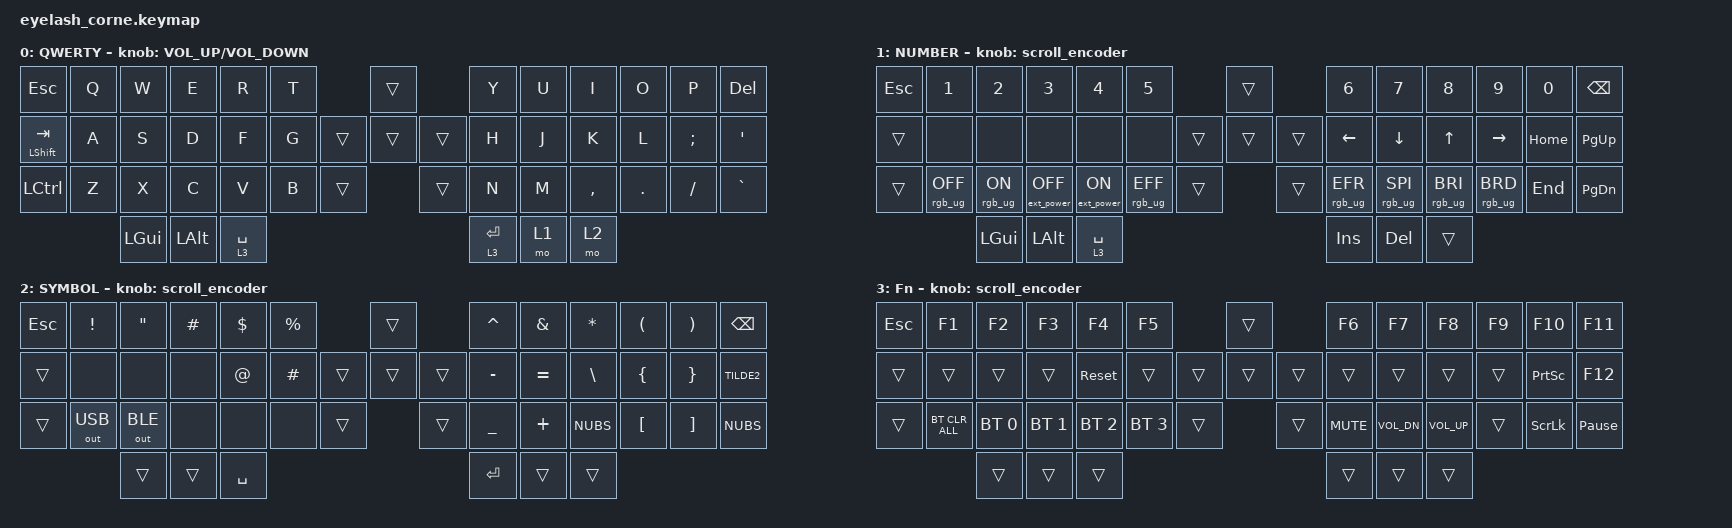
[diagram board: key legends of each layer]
#define ZMK_POINTING_DEFAULT_MOVE_VAL 1200  // 600
#define ZMK_POINTING_DEFAULT_SCRL_VAL 25   // 10

#include <input/processors.dtsi>
#include <zephyr/dt-bindings/input/input-event-codes.h>
#include <behaviors.dtsi>
#include <dt-bindings/zmk/bt.h>
#include <dt-bindings/zmk/ext_power.h>
#include <dt-bindings/zmk/keys.h>
#include <dt-bindings/zmk/outputs.h>
#include <dt-bindings/zmk/pointing.h>
#include <dt-bindings/zmk/rgb.h>

&mmv_input_listener { input-processors = <&zip_xy_scaler 2 1>; };

&msc_input_listener { input-processors = <&zip_scroll_scaler 2 1>; };

&msc {
    acceleration-exponent = <1>;      // 0
    time-to-max-speed-ms = <100>;       // 300
    delay-ms = <0>;                   // 0
};

&mmv {
    time-to-max-speed-ms = <500>;
    acceleration-exponent = <1>;
    trigger-period-ms = <16>;
};

/ {
    behaviors {
        td0: td0 {
            compatible = "zmk,behavior-tap-dance";
            display-name = "Shift/Caps Lock Tap Dance";
            #binding-cells = <0>;
            bindings = <&kp LEFT_SHIFT>, <&kp CAPS>;
        };
    };

    rgb_encoder: rgb_encoder {
        compatible = "zmk,behavior-sensor-rotate";
        #sensor-binding-cells = <0>;
        bindings = <&rgb_ug RGB_BRI>, <&rgb_ug RGB_BRD>;
    };

    scroll_encoder: scroll_encoder {
        compatible = "zmk,behavior-sensor-rotate";
        #sensor-binding-cells = <0>;
        bindings = <&msc SCRL_DOWN>, <&msc SCRL_UP>;

        tap-ms = <100>;
    };

    keymap {
        compatible = "zmk,keymap";
        default_layer {
            display-name = "QWERTY";
            // ------------------------------------------------------------------------------------------------------------------
            // | ESC  |  Q  |  W  |  E  |  R  |  T  |                           |  Y  |  U   |  I  |  O  |  P  | DEL  |
            // | SHIFT|  A  |  S  |  D  |  F  |  G  |                           |  H  |  J   |  K  |  L  |  ;  |  '   |
            // | CTRL |  Z  |  X  |  C  |  V  |  B  |                           |  N  |  M   |  ,  |  .  |  /  |  `   |
            bindings = <
&kp ESC         &kp Q    &kp W    &kp E    &kp R    &kp T          &trans        &kp Y    &kp U    &kp I     &kp O    &kp P    &kp DEL
&mt LSHIFT TAB  &kp A    &kp S    &kp D    &kp F    &kp G  &trans &trans &trans  &kp H    &kp J    &kp K     &kp L    &kp SEMI &kp SQT
&kp LCTRL       &kp Z    &kp X    &kp C    &kp V    &kp B  &trans  &trans        &kp N    &kp M    &kp COMMA &kp DOT  &kp FSLH &kp GRAVE
                         &kp LGUI  &kp LALT &lt 3 SPACE                          &lt 3 ENTER  &mo 1 &mo 2
            >;
            sensor-bindings = <&inc_dec_kp C_VOLUME_UP C_VOLUME_DOWN>;
        };

        lower_layer {
            display-name = "NUMBER";
            // ------------------------------------------------------------------------------------------------------------------------------------------------------
            // | ESC  |  1  |  2  |  3  |  4  |  5  |                                                                 |  6  |  7  |  8  |  9  |  10 | BKSP |
            // | BTCLR| BT1 | BT2 | BT3 | BT4 | BT5 |                                                                 | LFT | DWN |  UP | RGT | HOME| PGUP |
            // | CTRL |     |     |     |     |     |                                                                 |     |     |     |     | END | PGDN |
            //                    | GUI | ALT | SPC |                                                                 | ENT | ALT |     |
            bindings = <
&kp ESC &kp N1           &kp N2          &kp N3             &kp N4            &kp N5                     &trans        &kp N6           &kp N7           &kp N8           &kp N9           &kp N0    &kp BKSP
&trans  &none            &none           &none              &none             &none               &trans &trans &trans &kp LEFT         &kp DOWN         &kp UP           &kp RIGHT        &kp HOME  &kp PG_UP
&trans  &rgb_ug RGB_OFF  &rgb_ug RGB_ON  &ext_power EP_OFF  &ext_power EP_ON  &rgb_ug RGB_EFF     &trans &trans        &rgb_ug RGB_EFR  &rgb_ug RGB_SPI  &rgb_ug RGB_BRI  &rgb_ug RGB_BRD  &kp END   &kp PG_DN
                                         &kp LGUI           &kp LALT          &lt 3 SPACE                              &kp INS           &kp DEL          &trans
            >;
            sensor-bindings = <&scroll_encoder>;
        };

        raise_layer {
            display-name = "SYMBOL";
            // -----------------------------------------------------------------------------------------------------------------------
            // | ESC  |  !  |  "  |  #  |  $  |  %  |                                     |  ^  |  &  |  *  |  (  |  )  | BKSP |
            // | SHFT |     |     |     |  @  |  #  |                                     |  -  |  =  |  #  |  {  |  }  |  ~   |
            // | CTRL |     |     |     |     |     |                                     |  _  |  +  | "|" |  [  |  ]  | "|"  |
            //                    | GUI | ALT | SPC |                                     | ENT |     |     |
            bindings = <
&kp ESC &kp EXCL      &kp DQT       &kp HASH  &kp DLLR  &kp PRCNT           &trans         &kp CARET  &kp AMPS   &kp ASTRK &kp LPAR  &kp RPAR  &kp BKSP
&trans  &none         &none         &none     &kp AT    &kp HASH     &trans &trans &trans  &kp MINUS  &kp EQUAL  &kp BSLH  &kp LBRC  &kp RBRC  &kp TILDE2
&trans  &out OUT_USB  &out OUT_BLE  &none     &none     &none        &trans &trans         &kp UNDER  &kp PLUS   &kp NUBS  &kp LBKT  &kp RBKT  &kp NUBS
                                    &trans    &trans    &kp SPACE                          &kp RET    &trans     &trans
            >;
            sensor-bindings = <&scroll_encoder>;
        };

        layer_3 {
            display-name = "Fn";
            // -------------------------------------------------------------------------------------------------------------------------------------------
            // | ESC  |  F1  |  F2  |  F3  |  F4  |  F5                                               |  F6 |  F7  |  F8  |  F9  |  F10  |  F11  |
            // | CTRL |      |      |      | sysr |                                                   |     |  -   |  =   |      |  prts |  F12  |
            // | SHFT | btc  | bt0  |  bt1 | bt2  |  bt3                                              | mut | vdn  | vup  |      |  sclk |  brk  |
            //                    | GUI    | ALT  | SPC                                               |     | ENT |  LWR  | RSE  |
            bindings = <
&kp ESC  &kp F1         &kp F2       &kp F3       &kp F4         &kp F5               &trans          &kp F6       &kp F7  &kp F8  &kp F9  &kp F10          &kp F11
&trans  &trans          &trans       &trans       &sys_reset     &trans         &trans &trans &trans  &trans       &trans  &trans  &trans  &kp PRINTSCREEN  &kp F12
&trans  &bt BT_CLR_ALL  &bt BT_SEL 0 &bt BT_SEL 1 &bt BT_SEL 2   &bt BT_SEL 3   &trans &trans         &kp C_MUTE   &kp C_VOL_DN &kp C_VOL_UP &trans  &kp SCROLLLOCK   &kp PAUSE_BREAK
                                     &trans       &trans       &trans                                 &trans       &trans  &trans
            >;
            sensor-bindings = <&scroll_encoder>;
        };
    };
};
